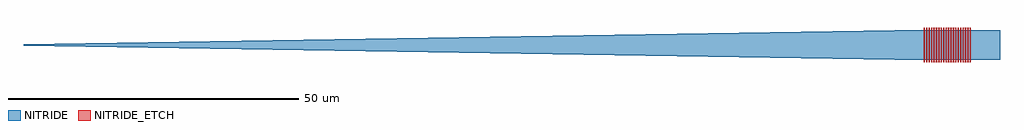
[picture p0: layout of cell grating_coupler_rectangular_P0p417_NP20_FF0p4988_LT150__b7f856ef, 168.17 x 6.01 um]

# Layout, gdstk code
import gdstk
lib = gdstk.Library(unit=1e-6, precision=1e-09)
def R(c, l, rs):  # rectangles x0, y0, x1, y1
    for r in rs: c.add(gdstk.rectangle(r[:2], r[2:], *l))
def A(c, l, x, y, w, h, nx, ny, dx, dy):  # array of equal rectangles
    R(c, l, [(x+i*dx, y+j*dy, x+i*dx+w, y+j*dy+h) for i in range(nx) for j in range(ny)])
def P(c, l, *ps):  # polygons
    for p in ps: c.add(gdstk.Polygon(p, *l))
NITRIDE = (203, 0)
NITRIDE_ETCH = (204, 0)

grating_coupler_rectangu = lib.new_cell('grating_coupler_rectangular_P0p417_NP20_FF0p4988_LT150__b7f856ef')
P(grating_coupler_rectangu, NITRIDE, [(150,-2.5),(0,-0.135),(0,0.135),(150,2.5),(168.166,2.5),(168.166,-2.5)])
A(grating_coupler_rectangu, NITRIDE_ETCH, 155.035, -3.003, 0.208, 6.006, 20, 1, 0.417, 0)

lib.write_gds('grating_coupler_rectangular_P0p417_NP20_FF0p4988_LT150__b7f856ef.gds')
